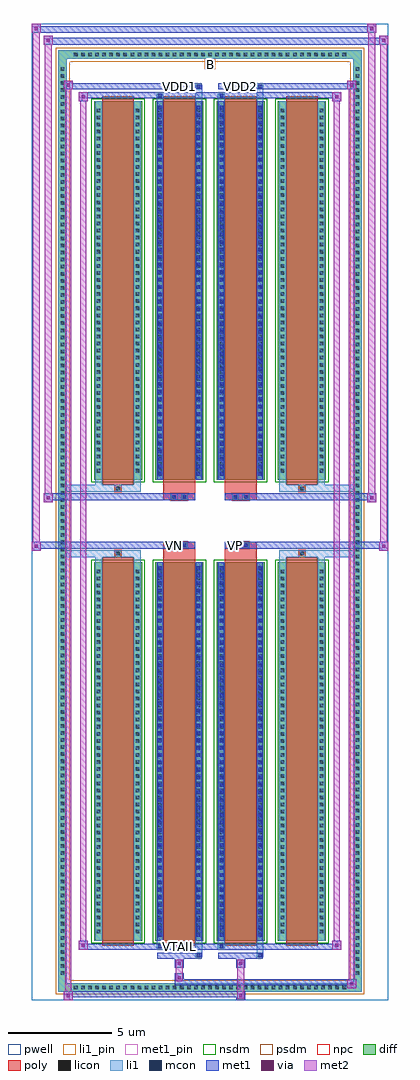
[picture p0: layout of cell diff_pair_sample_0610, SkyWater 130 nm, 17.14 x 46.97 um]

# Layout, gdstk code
import gdstk
lib = gdstk.Library(unit=1e-6, precision=5e-09)
def R(c, l, rs):  # rectangles x0, y0, x1, y1
    for r in rs: c.add(gdstk.rectangle(r[:2], r[2:], *l))
def A(c, l, x, y, w, h, nx, ny, dx, dy):  # array of equal rectangles
    R(c, l, [(x+i*dx, y+j*dy, x+i*dx+w, y+j*dy+h) for i in range(nx) for j in range(ny)])
def P(c, l, *ps):  # polygons
    for p in ps: c.add(gdstk.Polygon(p, *l))
pwell = (64, 44)
diff = (65, 20)
poly = (66, 20)
licon = (66, 44)
li1_pin = (67, 16)
li1 = (67, 20)
mcon = (67, 44)
met1_pin = (68, 16)
met1 = (68, 20)
via = (68, 44)
met2 = (69, 20)
nsdm = (93, 44)
psdm = (94, 20)
npc = (95, 20)

diff_pair_sample_0610 = lib.new_cell('diff_pair_sample_0610')
R(diff_pair_sample_0610, pwell, [(-8.57,-23.05,8.57,23.92), (-5.89,-21.24,-0.01,-0.8), (0.01,-21.24,5.89,-0.8), (-5.89,0.8,-0.01,21.24), (0.01,0.8,5.89,21.24)])
A(diff_pair_sample_0610, diff, -6.665, -22.65, 0.41, 0.41, 39, 2, 0.34, 44.89)
A(diff_pair_sample_0610, diff, -7.3, -21.965, 0.41, 0.41, 1, 129, 0, 0.34)
A(diff_pair_sample_0610, diff, 6.89, -21.965, 0.41, 0.41, 1, 129, 0, 0.34)
A(diff_pair_sample_0610, diff, -5.58, -20.195, 2.31, 18.21, 4, 2, 2.95, 22.18)
R(diff_pair_sample_0610, diff, [(-6.665,-22.65,6.665,-22.24), (-7.3,-21.965,-6.89,21.965), (6.89,-21.965,7.3,21.965), (-6.665,22.24,6.665,22.65)])
P(diff_pair_sample_0610, diff, [(7.3,22.65),(-7.3,22.65),(-7.3,-22.24),(-6.89,-22.24),(-6.89,22.24),(6.89,22.24),(6.89,-22.24),(-6.89,-22.24),(-7.3,-22.24),(-7.3,-22.65),(7.3,-22.65)])
A(diff_pair_sample_0610, poly, -5.19, -20.445, 1.53, 18.71, 4, 2, 2.95, 22.18)
R(diff_pair_sample_0610, poly, [(-4.59,-1.735,-4.26,-1.405), (-4.59,-1.735,-4.26,-1.405), (-2.24,-1.735,-0.71,-1.33), (0.71,-1.735,2.24,-1.33), (4.26,-1.735,4.59,-1.405), (4.26,-1.735,4.59,-1.405), (-2.24,-1.33,-0.71,-1), (-1.89,-1.33,-1.56,-1), (-1.39,-1.33,-1.06,-1), (0.71,-1.33,2.24,-1), (1.06,-1.33,1.39,-1), (1.56,-1.33,1.89,-1), (-2.24,1,-0.71,1.33), (-1.89,1,-1.56,1.33), (-1.39,1,-1.06,1.33), (0.71,1,2.24,1.33), (1.06,1,1.39,1.33), (1.56,1,1.89,1.33), (-2.24,1.33,-0.71,1.735), (0.71,1.33,2.24,1.735), (-4.59,1.405,-4.26,1.735), (-4.59,1.405,-4.26,1.735), (4.26,1.405,4.59,1.735), (4.26,1.405,4.59,1.735)])
A(diff_pair_sample_0610, licon, -6.545, -22.53, 0.17, 0.17, 39, 2, 0.34, 44.89)
A(diff_pair_sample_0610, licon, -7.18, -21.845, 0.17, 0.17, 1, 129, 0, 0.34)
A(diff_pair_sample_0610, licon, 7.01, -21.845, 0.17, 0.17, 1, 129, 0, 0.34)
A(diff_pair_sample_0610, licon, -5.44, -19.845, 0.17, 0.17, 1, 52, 0, 0.34)
A(diff_pair_sample_0610, licon, -3.58, -19.845, 0.17, 0.17, 1, 52, 0, 0.34)
A(diff_pair_sample_0610, licon, -2.49, -19.845, 0.17, 0.17, 1, 52, 0, 0.34)
A(diff_pair_sample_0610, licon, -0.63, -19.845, 0.17, 0.17, 1, 52, 0, 0.34)
A(diff_pair_sample_0610, licon, 0.46, -19.845, 0.17, 0.17, 1, 52, 0, 0.34)
A(diff_pair_sample_0610, licon, 2.32, -19.845, 0.17, 0.17, 1, 52, 0, 0.34)
A(diff_pair_sample_0610, licon, 3.41, -19.845, 0.17, 0.17, 1, 52, 0, 0.34)
A(diff_pair_sample_0610, licon, 5.27, -19.845, 0.17, 0.17, 1, 52, 0, 0.34)
A(diff_pair_sample_0610, licon, -5.44, 2.335, 0.17, 0.17, 1, 52, 0, 0.34)
A(diff_pair_sample_0610, licon, -3.58, 2.335, 0.17, 0.17, 1, 52, 0, 0.34)
A(diff_pair_sample_0610, licon, -2.49, 2.335, 0.17, 0.17, 1, 52, 0, 0.34)
A(diff_pair_sample_0610, licon, -0.63, 2.335, 0.17, 0.17, 1, 52, 0, 0.34)
A(diff_pair_sample_0610, licon, 0.46, 2.335, 0.17, 0.17, 1, 52, 0, 0.34)
A(diff_pair_sample_0610, licon, 2.32, 2.335, 0.17, 0.17, 1, 52, 0, 0.34)
A(diff_pair_sample_0610, licon, 3.41, 2.335, 0.17, 0.17, 1, 52, 0, 0.34)
A(diff_pair_sample_0610, licon, 5.27, 2.335, 0.17, 0.17, 1, 52, 0, 0.34)
R(diff_pair_sample_0610, licon, [(-4.51,-1.655,-4.34,-1.485), (4.34,-1.655,4.51,-1.485), (-1.81,-1.25,-1.64,-1.08), (-1.31,-1.25,-1.14,-1.08), (1.14,-1.25,1.31,-1.08), (1.64,-1.25,1.81,-1.08), (-1.81,1.08,-1.64,1.25), (-1.31,1.08,-1.14,1.25), (1.14,1.08,1.31,1.25), (1.64,1.08,1.81,1.25), (-4.51,1.485,-4.34,1.655), (4.34,1.485,4.51,1.655)])
R(diff_pair_sample_0610, li1_pin, [(-0.25,21.74,0.25,22.24)])
A(diff_pair_sample_0610, li1, -6.625, -22.61, 0.33, 0.33, 39, 2, 0.34, 44.89)
A(diff_pair_sample_0610, li1, -7.26, -21.925, 0.33, 0.33, 1, 129, 0, 0.34)
A(diff_pair_sample_0610, li1, 6.93, -21.925, 0.33, 0.33, 1, 129, 0, 0.34)
A(diff_pair_sample_0610, li1, -2.49, -19.995, 0.17, 0.17, 1, 50, 0, 0.36)
A(diff_pair_sample_0610, li1, -0.63, -19.995, 0.17, 0.17, 1, 50, 0, 0.36)
A(diff_pair_sample_0610, li1, 0.46, -19.995, 0.17, 0.17, 1, 50, 0, 0.36)
A(diff_pair_sample_0610, li1, 2.32, -19.995, 0.17, 0.17, 1, 50, 0, 0.36)
A(diff_pair_sample_0610, li1, -5.52, -19.925, 0.33, 0.33, 1, 52, 0, 0.34)
A(diff_pair_sample_0610, li1, -3.66, -19.925, 0.33, 0.33, 1, 52, 0, 0.34)
A(diff_pair_sample_0610, li1, -2.57, -19.925, 0.33, 0.33, 1, 52, 0, 0.34)
A(diff_pair_sample_0610, li1, -0.71, -19.925, 0.33, 0.33, 1, 52, 0, 0.34)
A(diff_pair_sample_0610, li1, 0.38, -19.925, 0.33, 0.33, 1, 52, 0, 0.34)
A(diff_pair_sample_0610, li1, 2.24, -19.925, 0.33, 0.33, 1, 52, 0, 0.34)
A(diff_pair_sample_0610, li1, 3.33, -19.925, 0.33, 0.33, 1, 52, 0, 0.34)
A(diff_pair_sample_0610, li1, 5.19, -19.925, 0.33, 0.33, 1, 52, 0, 0.34)
A(diff_pair_sample_0610, li1, -2.49, 2.185, 0.17, 0.17, 1, 50, 0, 0.36)
A(diff_pair_sample_0610, li1, -0.63, 2.185, 0.17, 0.17, 1, 50, 0, 0.36)
A(diff_pair_sample_0610, li1, 0.46, 2.185, 0.17, 0.17, 1, 50, 0, 0.36)
A(diff_pair_sample_0610, li1, 2.32, 2.185, 0.17, 0.17, 1, 50, 0, 0.36)
A(diff_pair_sample_0610, li1, -5.52, 2.255, 0.33, 0.33, 1, 52, 0, 0.34)
A(diff_pair_sample_0610, li1, -3.66, 2.255, 0.33, 0.33, 1, 52, 0, 0.34)
A(diff_pair_sample_0610, li1, -2.57, 2.255, 0.33, 0.33, 1, 52, 0, 0.34)
A(diff_pair_sample_0610, li1, -0.71, 2.255, 0.33, 0.33, 1, 52, 0, 0.34)
A(diff_pair_sample_0610, li1, 0.38, 2.255, 0.33, 0.33, 1, 52, 0, 0.34)
A(diff_pair_sample_0610, li1, 2.24, 2.255, 0.33, 0.33, 1, 52, 0, 0.34)
A(diff_pair_sample_0610, li1, 3.33, 2.255, 0.33, 0.33, 1, 52, 0, 0.34)
A(diff_pair_sample_0610, li1, 5.19, 2.255, 0.33, 0.33, 1, 52, 0, 0.34)
R(diff_pair_sample_0610, li1, [(-7.3,-22.65,-6.89,-22.24), (-7.3,-22.65,-6.89,-22.24), (-6.89,-22.65,6.89,-22.24), (6.89,-22.65,7.3,-22.24), (6.89,-22.65,7.3,-22.24), (-7.3,-22.24,-6.89,22.24), (6.89,-22.24,7.3,22.24), (-0.71,-21,-0.38,-20.195), (-0.63,-21,-0.46,-20.83), (2.24,-21,2.57,-20.195), (2.32,-21,2.49,-20.83), (-2.57,-20.57,-2.24,-20.195), (-2.49,-20.57,-2.32,-20.4), (0.38,-20.57,0.71,-20.195), (0.46,-20.57,0.63,-20.4), (-5.52,-20.195,-5.19,-1.985), (-3.66,-20.195,-3.33,-1.985), (-2.57,-20.195,-2.24,-1.985), (-0.71,-20.195,-0.38,-1.985), (0.38,-20.195,0.71,-1.985), (2.24,-20.195,2.57,-1.985), (3.33,-20.195,3.66,-1.985), (5.19,-20.195,5.52,-1.985), (-2.49,-19.995,-2.32,-2.185), (-0.63,-19.995,-0.46,-2.185), (0.46,-19.995,0.63,-2.185), (2.32,-19.995,2.49,-2.185), (-5.52,-1.985,-5.19,-1.405), (-3.66,-1.985,-3.33,-1.405), (3.33,-1.985,3.66,-1.405), (5.19,-1.985,5.52,-1.405), (-7.3,-1.735,-4.59,-1.405), (-5.52,-1.735,-4.59,-1.405), (-4.59,-1.735,-4.26,-1.405), (-4.26,-1.735,-3.33,-1.405), (3.33,-1.735,4.26,-1.405), (4.26,-1.735,4.59,-1.405), (4.26,-1.735,7.3,-1.405), (4.59,-1.735,5.52,-1.405), (-1.89,-1.33,-1.56,-1), (-1.39,-1.33,-1.06,-1), (1.06,-1.33,1.39,-1), (1.56,-1.33,1.89,-1), (-1.89,1,-1.56,1.33), (-1.39,1,-1.06,1.33), (1.06,1,1.39,1.33), (1.56,1,1.89,1.33), (-7.3,1.405,-4.59,1.735), (-5.52,1.405,-4.59,1.735), (-5.52,1.405,-5.19,1.985), (-4.59,1.405,-4.26,1.735), (-4.26,1.405,-3.33,1.735), (-3.66,1.405,-3.33,1.985), (3.33,1.405,4.26,1.735), (3.33,1.405,3.66,1.985), (4.26,1.405,4.59,1.735), (4.26,1.405,7.3,1.735), (4.59,1.405,5.52,1.735), (5.19,1.405,5.52,1.985), (-5.52,1.985,-5.19,20.195), (-3.66,1.985,-3.33,20.195), (-2.57,1.985,-2.24,20.195), (-0.71,1.985,-0.38,20.195), (0.38,1.985,0.71,20.195), (2.24,1.985,2.57,20.195), (3.33,1.985,3.66,20.195), (5.19,1.985,5.52,20.195), (-2.49,2.185,-2.32,19.995), (-0.63,2.185,-0.46,19.995), (0.46,2.185,0.63,19.995), (2.32,2.185,2.49,19.995), (-2.57,20.195,-2.24,20.57), (-0.71,20.195,-0.38,21), (0.38,20.195,0.71,20.57), (2.24,20.195,2.57,21), (-2.49,20.4,-2.32,20.57), (0.46,20.4,0.63,20.57), (-0.63,20.83,-0.46,21), (2.32,20.83,2.49,21), (-7.3,22.24,-6.89,22.65), (-7.3,22.24,-6.89,22.65), (-6.89,22.24,6.89,22.65), (6.89,22.24,7.3,22.65), (6.89,22.24,7.3,22.65)])
A(diff_pair_sample_0610, mcon, -2.49, -19.995, 0.17, 0.17, 1, 50, 0, 0.36)
A(diff_pair_sample_0610, mcon, -0.63, -19.995, 0.17, 0.17, 1, 50, 0, 0.36)
A(diff_pair_sample_0610, mcon, 0.46, -19.995, 0.17, 0.17, 1, 50, 0, 0.36)
A(diff_pair_sample_0610, mcon, 2.32, -19.995, 0.17, 0.17, 1, 50, 0, 0.36)
A(diff_pair_sample_0610, mcon, -2.49, 2.185, 0.17, 0.17, 1, 50, 0, 0.36)
A(diff_pair_sample_0610, mcon, -0.63, 2.185, 0.17, 0.17, 1, 50, 0, 0.36)
A(diff_pair_sample_0610, mcon, 0.46, 2.185, 0.17, 0.17, 1, 50, 0, 0.36)
A(diff_pair_sample_0610, mcon, 2.32, 2.185, 0.17, 0.17, 1, 50, 0, 0.36)
R(diff_pair_sample_0610, mcon, [(-0.63,-21,-0.46,-20.83), (2.32,-21,2.49,-20.83), (-2.49,-20.57,-2.32,-20.4), (0.46,-20.57,0.63,-20.4), (-1.81,-1.25,-1.64,-1.08), (-1.31,-1.25,-1.14,-1.08), (1.14,-1.25,1.31,-1.08), (1.64,-1.25,1.81,-1.08), (-1.81,1.08,-1.64,1.25), (-1.31,1.08,-1.14,1.25), (1.14,1.08,1.31,1.25), (1.64,1.08,1.81,1.25), (-2.49,20.4,-2.32,20.57), (0.46,20.4,0.63,20.57), (-0.63,20.83,-0.46,21), (2.32,20.83,2.49,21)])
R(diff_pair_sample_0610, met1_pin, [(-1.61,-20.61,-1.34,-20.34), (-1.86,-1.29,-1.59,-1.02), (1.09,-1.29,1.36,-1.02), (-1.61,20.79,-1.34,21.06), (1.34,20.79,1.61,21.06)])
A(diff_pair_sample_0610, met1, -2.55, -20.055, 0.29, 0.29, 1, 50, 0, 0.36)
A(diff_pair_sample_0610, met1, -0.69, -20.055, 0.29, 0.29, 1, 50, 0, 0.36)
A(diff_pair_sample_0610, met1, 0.4, -20.055, 0.29, 0.29, 1, 50, 0, 0.36)
A(diff_pair_sample_0610, met1, 2.26, -20.055, 0.29, 0.29, 1, 50, 0, 0.36)
A(diff_pair_sample_0610, met1, -2.55, 2.125, 0.29, 0.29, 1, 50, 0, 0.36)
A(diff_pair_sample_0610, met1, -0.69, 2.125, 0.29, 0.29, 1, 50, 0, 0.36)
A(diff_pair_sample_0610, met1, 0.4, 2.125, 0.29, 0.29, 1, 50, 0, 0.36)
A(diff_pair_sample_0610, met1, 2.26, 2.125, 0.29, 0.29, 1, 50, 0, 0.36)
R(diff_pair_sample_0610, met1, [(-7.03,-23.05,-6.6,-22.62), (1.26,-23.05,1.69,-22.62), (-7.03,-22.91,1.69,-22.62), (6.6,-22.48,7.03,-22.05), (-1.69,-22.34,7.03,-22.05), (-1.69,-22.2,-1.26,-21.77), (-1.69,-21.49,-1.26,-21.06), (1.26,-21.49,1.69,-21.06), (-2.55,-21.06,-0.4,-20.77), (-0.69,-21.06,-0.4,-20.77), (0.4,-21.06,2.55,-20.77), (2.26,-21.06,2.55,-20.77), (-6.32,-20.63,-5.89,-20.2), (-6.32,-20.63,-2.55,-20.34), (-2.55,-20.63,-2.26,-20.34), (-2.55,-20.63,-0.4,-20.34), (-0.4,-20.63,0.4,-20.34), (0.4,-20.63,0.69,-20.34), (0.4,-20.63,2.55,-20.34), (2.55,-20.63,6.32,-20.34), (5.89,-20.63,6.32,-20.2), (-2.55,-20.195,-2.26,-1.985), (-0.69,-20.195,-0.4,-1.985), (0.4,-20.195,0.69,-1.985), (2.26,-20.195,2.55,-1.985), (-8.57,-1.43,-8.14,-1), (8.14,-1.43,8.57,-1), (-8.57,-1.33,-0.71,-1), (-2.24,-1.33,-0.71,-1), (0.71,-1.33,2.24,-1), (0.71,-1.33,8.57,-1), (-1.87,-1.31,-1.58,-1.02), (-1.37,-1.31,-1.08,-1.02), (1.08,-1.31,1.37,-1.02), (1.58,-1.31,1.87,-1.02), (-8,0.9,-7.57,1.33), (7.57,0.9,8,1.33), (-8,1,-2.24,1.33), (-2.24,1,-0.71,1.33), (0.71,1,2.24,1.33), (2.24,1,8,1.33), (-1.87,1.02,-1.58,1.31), (-1.37,1.02,-1.08,1.31), (1.08,1.02,1.37,1.31), (1.58,1.02,1.87,1.31), (-2.55,1.985,-2.26,20.195), (-0.69,1.985,-0.4,20.195), (0.4,1.985,0.69,20.195), (2.26,1.985,2.55,20.195), (-6.32,20.2,-5.89,20.63), (5.89,20.2,6.32,20.63), (-6.32,20.34,-2.55,20.63), (-2.55,20.34,-2.26,20.63), (-2.55,20.34,-0.4,20.63), (-0.4,20.34,0.4,20.63), (0.4,20.34,0.69,20.63), (0.4,20.34,2.55,20.63), (2.55,20.34,6.32,20.63), (-7.03,20.77,-6.6,21.2), (-7.03,20.77,-2.55,21.06), (-2.55,20.77,-0.4,21.06), (-0.69,20.77,-0.4,21.06), (0.4,20.77,2.55,21.06), (2.26,20.77,2.55,21.06), (2.55,20.77,7.03,21.06), (6.6,20.77,7.03,21.2), (-8,22.92,-7.57,23.35), (-8,22.92,-5.89,23.25), (-5.89,22.92,5.89,23.25), (5.89,22.92,8.57,23.25), (8.14,22.92,8.57,23.35), (-8.57,23.49,-8.14,23.92), (-8.57,23.49,-5.89,23.82), (-5.89,23.49,5.89,23.82), (5.89,23.49,8,23.82), (7.57,23.49,8,23.92)])
R(diff_pair_sample_0610, via, [(-6.89,-22.91,-6.74,-22.76), (1.4,-22.91,1.55,-22.76), (6.74,-22.34,6.89,-22.19), (-1.55,-22.06,-1.4,-21.91), (-1.55,-21.35,-1.4,-21.2), (1.4,-21.35,1.55,-21.2), (-6.18,-20.49,-6.03,-20.34), (6.03,-20.49,6.18,-20.34), (-8.43,-1.29,-8.28,-1.14), (8.28,-1.29,8.43,-1.14), (-7.86,1.04,-7.71,1.19), (7.71,1.04,7.86,1.19), (-6.18,20.34,-6.03,20.49), (6.03,20.34,6.18,20.49), (-6.89,20.91,-6.74,21.06), (6.74,20.91,6.89,21.06), (-7.86,23.06,-7.71,23.21), (8.28,23.06,8.43,23.21), (-8.43,23.63,-8.28,23.78), (7.71,23.63,7.86,23.78)])
R(diff_pair_sample_0610, met2, [(-7.03,-23.05,-6.6,-22.62), (-6.96,-23.05,-6.67,21.2), (-6.67,-23.05,-6.6,-22.62), (-6.98,-23,-6.65,-22.67), (1.31,-23,1.64,-22.67), (1.31,-22.67,1.64,-21.44), (6.6,-22.48,7.03,-22.05), (6.67,-22.48,6.96,21.2), (6.96,-22.48,7.03,-22.05), (6.65,-22.43,6.98,-22.1), (-1.64,-22.15,-1.31,-21.82), (-1.64,-21.82,-1.31,-21.44), (-1.64,-21.44,-1.31,-21.11), (1.31,-21.44,1.64,-21.11), (-6.32,-20.63,-5.89,-20.2), (-6.25,-20.63,-5.96,20.63), (-5.96,-20.63,-5.89,-20.2), (5.89,-20.63,6.32,-20.2), (5.96,-20.63,6.25,20.63), (6.25,-20.63,6.32,-20.2), (-6.27,-20.58,-5.94,-20.25), (5.94,-20.58,6.27,-20.25), (-8.57,-1.43,-8.14,-1), (-8.52,-1.43,-8.19,23.92), (-8.19,-1.43,-8.14,-1), (8.14,-1.43,8.57,-1), (8.19,-1.43,8.52,23.35), (8.52,-1.43,8.57,-1), (-8.52,-1.38,-8.19,-1.05), (8.19,-1.38,8.52,-1.05), (-8,0.9,-7.57,1.33), (-7.95,0.9,-7.62,23.35), (-7.62,0.9,-7.57,1.33), (7.57,0.9,8,1.33), (7.62,0.9,7.95,23.92), (7.95,0.9,8,1.33), (-7.95,0.95,-7.62,1.28), (7.62,0.95,7.95,1.28), (-6.32,20.2,-5.89,20.63), (-5.96,20.2,-5.89,20.63), (5.89,20.2,6.32,20.63), (6.25,20.2,6.32,20.63), (-6.27,20.25,-5.94,20.58), (5.94,20.25,6.27,20.58), (-7.03,20.77,-6.6,21.2), (-6.67,20.77,-6.6,21.2), (6.6,20.77,7.03,21.2), (6.96,20.77,7.03,21.2), (-6.98,20.82,-6.65,21.15), (6.65,20.82,6.98,21.15), (-8,22.92,-7.57,23.35), (-7.62,22.92,-7.57,23.35), (8.14,22.92,8.57,23.35), (8.52,22.92,8.57,23.35), (-7.95,22.97,-7.62,23.3), (8.19,22.97,8.52,23.3), (-8.57,23.49,-8.14,23.92), (-8.19,23.49,-8.14,23.92), (7.57,23.49,8,23.92), (7.95,23.49,8,23.92), (-8.52,23.54,-8.19,23.87), (7.62,23.54,7.95,23.87)])
A(diff_pair_sample_0610, nsdm, -5.71, -20.325, 2.57, 18.47, 4, 2, 2.95, 22.18)
P(diff_pair_sample_0610, psdm, [(7.43,22.78),(-7.43,22.78),(-7.43,-22.11),(-6.76,-22.11),(-6.76,22.11),(6.76,22.11),(6.76,-22.11),(-6.76,-22.11),(-7.43,-22.11),(-7.43,-22.78),(7.43,-22.78)])
R(diff_pair_sample_0610, npc, [(-4.61,-1.755,-4.24,-1.385), (4.24,-1.755,4.61,-1.385), (-1.91,-1.35,-1.54,-0.98), (-1.91,-1.35,-1.04,-0.98), (-1.91,-1.35,-1.04,-0.98), (-1.41,-1.35,-1.04,-0.98), (1.04,-1.35,1.41,-0.98), (1.04,-1.35,1.91,-0.98), (1.04,-1.35,1.91,-0.98), (1.54,-1.35,1.91,-0.98), (-1.91,0.98,-1.54,1.35), (-1.91,0.98,-1.04,1.35), (-1.91,0.98,-1.04,1.35), (-1.41,0.98,-1.04,1.35), (1.04,0.98,1.41,1.35), (1.04,0.98,1.91,1.35), (1.04,0.98,1.91,1.35), (1.54,0.98,1.91,1.35), (-4.61,1.385,-4.24,1.755), (4.24,1.385,4.61,1.755)])
diff_pair_sample_0610.add(gdstk.Label('VTAIL', (-1.475,-20.475), layer=68, texttype=5))
diff_pair_sample_0610.add(gdstk.Label('VN', (-1.725,-1.155), layer=68, texttype=5))
diff_pair_sample_0610.add(gdstk.Label('VP', (1.225,-1.155), layer=68, texttype=5))
diff_pair_sample_0610.add(gdstk.Label('B', (0,21.99), layer=67, texttype=5))
diff_pair_sample_0610.add(gdstk.Label('VDD2', (1.475,20.925), layer=68, texttype=5))
diff_pair_sample_0610.add(gdstk.Label('VDD1', (-1.475,20.925), layer=68, texttype=5))

lib.write_gds('diff_pair_sample_0610.gds')
